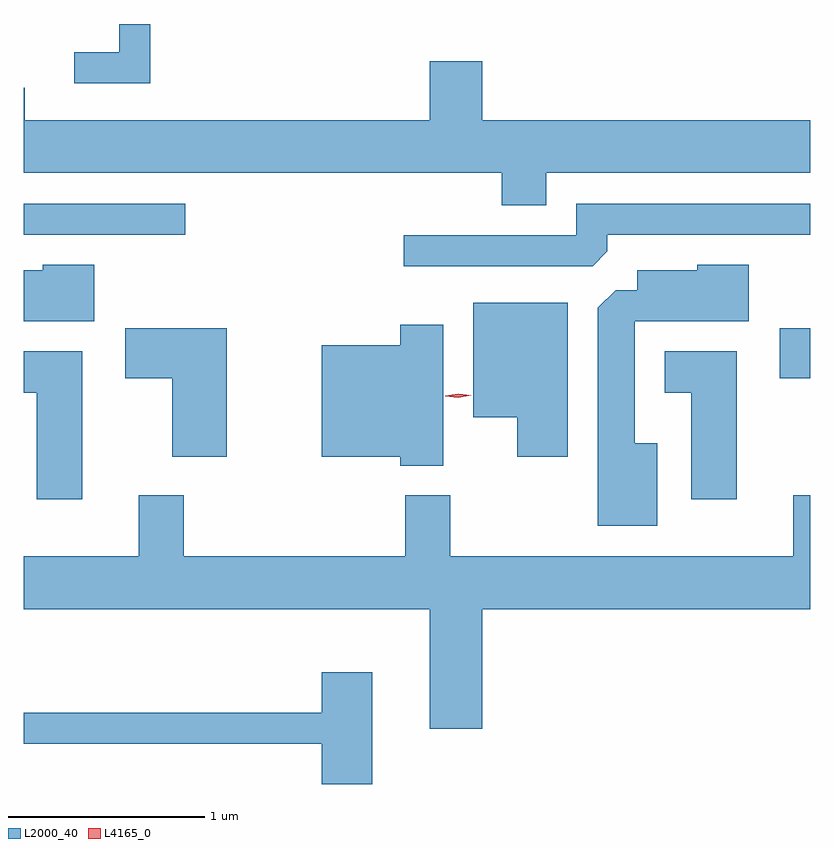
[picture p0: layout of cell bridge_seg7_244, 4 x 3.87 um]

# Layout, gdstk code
import gdstk
lib = gdstk.Library(unit=1e-6, precision=1e-09)
def R(c, l, rs):  # rectangles x0, y0, x1, y1
    for r in rs: c.add(gdstk.rectangle(r[:2], r[2:], *l))
def P(c, l, *ps):  # polygons
    for p in ps: c.add(gdstk.Polygon(p, *l))
L2000_40 = (2000, 40)
L4165_0 = (4165, 0)

bridge_seg7_244 = lib.new_cell('bridge_seg7_244')
R(bridge_seg7_244, L2000_40, [(1815.256,1711.051,1815.411,1711.304), (1811.411,1711.781,1812.233,1711.939)])
P(bridge_seg7_244, L2000_40, [(1812.054,1712.853),(1811.896,1712.853),(1811.896,1712.709),(1811.668,1712.709),(1811.668,1712.551),(1812.054,1712.551)],
  [(1814.069,1712.096),(1815.411,1712.096),(1815.411,1712.364),(1813.744,1712.364),(1813.744,1712.664),(1813.476,1712.664),(1813.476,1712.364),(1811.414,1712.364),(1811.414,1712.529),(1811.411,1712.529),(1811.411,1712.096),(1813.841,1712.096),(1813.841,1711.931),(1814.069,1711.931)],
  [(1814.379,1711.697),(1814.379,1711.781),(1815.411,1711.781),(1815.411,1711.939),(1814.221,1711.939),(1814.221,1711.779),(1813.343,1711.779),(1813.343,1711.621),(1814.304,1711.621)],
  [(1811.769,1711.629),(1811.506,1711.629),(1811.506,1711.599),(1811.411,1711.599),(1811.411,1711.341),(1811.769,1711.341)],
  [(1814.634,1710.719),(1814.519,1710.719),(1814.519,1711.341),(1815.099,1711.341),(1815.099,1711.629),(1814.836,1711.629),(1814.836,1711.599),(1814.531,1711.599),(1814.531,1711.499),(1814.422,1711.499),(1814.331,1711.409),(1814.331,1710.301),(1814.634,1710.301)],
  [(1814.179,1711.434),(1813.696,1711.434),(1813.696,1710.851),(1813.921,1710.851),(1813.921,1710.651),(1814.179,1710.651)],
  [(1813.544,1711.324),(1813.326,1711.324),(1813.326,1711.219),(1812.926,1711.219),(1812.926,1710.651),(1813.326,1710.651),(1813.326,1710.606),(1813.544,1710.606)],
  [(1812.444,1711.304),(1811.926,1711.304),(1811.926,1711.051),(1812.166,1711.051),(1812.166,1710.651),(1812.444,1710.651)],
  [(1811.709,1711.189),(1811.411,1711.189),(1811.411,1710.976),(1811.476,1710.976),(1811.476,1710.436),(1811.709,1710.436)],
  [(1815.039,1711.189),(1814.671,1711.189),(1814.671,1710.976),(1814.806,1710.976),(1814.806,1710.436),(1815.039,1710.436)],
  [(1813.744,1709.876),(1815.411,1709.876),(1815.411,1710.454),(1815.326,1710.454),(1815.326,1710.144),(1813.579,1710.144),(1813.579,1710.454),(1813.351,1710.454),(1813.351,1710.144),(1812.224,1710.144),(1812.224,1710.454),(1811.996,1710.454),(1811.996,1710.144),(1811.411,1710.144),(1811.411,1709.876),(1813.476,1709.876),(1813.476,1709.266),(1813.744,1709.266)],
  [(1813.184,1709.554),(1812.926,1709.554),(1812.926,1709.349),(1811.411,1709.349),(1811.411,1709.191),(1812.926,1709.191),(1812.926,1708.986),(1813.184,1708.986)])
P(bridge_seg7_244, L4165_0, [(1813.622,1710.952),(1813.556,1710.96),(1813.555,1710.961),(1813.556,1710.962),(1813.621,1710.972),(1813.687,1710.964),(1813.688,1710.964),(1813.687,1710.963)])

lib.write_gds('bridge_seg7_244.gds')
